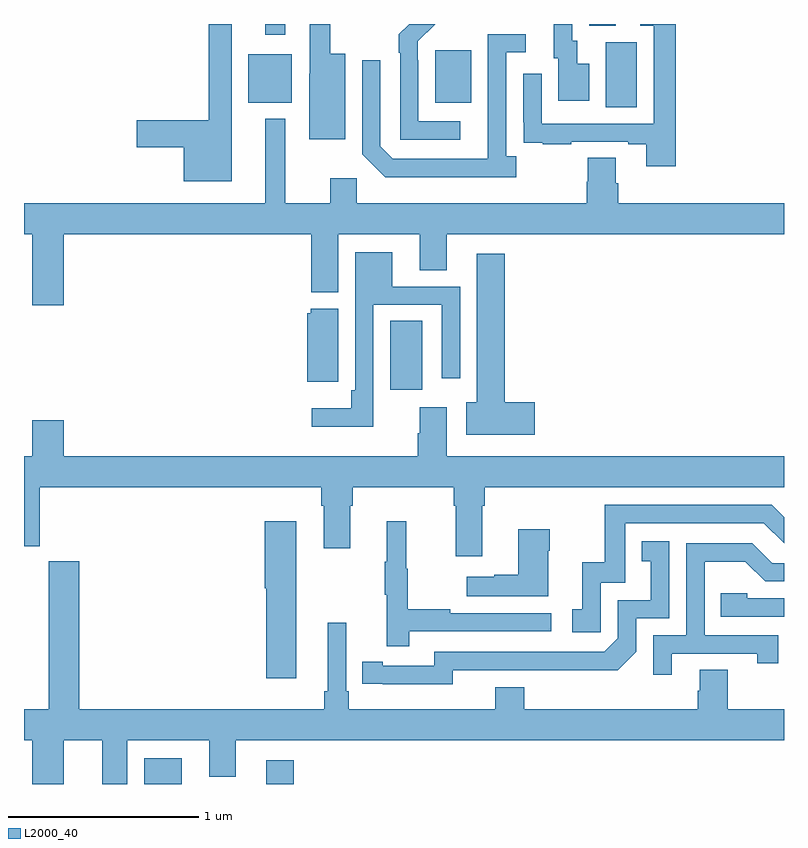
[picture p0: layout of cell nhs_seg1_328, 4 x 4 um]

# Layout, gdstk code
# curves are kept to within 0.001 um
import gdstk
lib = gdstk.Library(unit=1e-6, precision=1e-09)
def R(c, l, rs):  # rectangles x0, y0, x1, y1
    for r in rs: c.add(gdstk.rectangle(r[:2], r[2:], *l))
def P(c, l, *ps):  # polygons
    for p in ps: c.add(gdstk.Polygon(p, *l))
L2000_40 = (2000, 40)

nhs_seg1_328 = lib.new_cell('nhs_seg1_328')
R(nhs_seg1_328, L2000_40, [(129.633,522.199,129.829,522.334), (130.274,522.199,130.421,522.325), (130.928,524.274,131.095,524.636), (132.062,525.76,132.226,526.104), (130.181,525.785,130.408,526.039), (131.165,525.785,131.353,526.06), (130.271,526.143,130.375,526.199), (131.975,526.189,132.115,526.199)])
P(nhs_seg1_328, L2000_40, [(132.431,526.199),(132.243,526.199),(132.243,526.191),(132.315,526.191),(132.315,525.675),(131.724,525.675),(131.724,525.937),(131.628,525.937),(131.628,525.682),(131.629,525.682),(131.629,525.573),(131.731,525.573),(131.731,525.567),(131.879,525.567),(131.879,525.579),(132.179,525.579),(132.179,525.567),(132.275,525.567),(132.275,525.45),(132.431,525.45)],
  [(130.093,526.199),(129.972,526.199),(129.972,525.692),(129.594,525.692),(129.594,525.55),(129.842,525.55),(129.842,525.371),(130.093,525.371)],
  [(131.974,525.991),(131.911,525.991),(131.911,526.11),(131.886,526.11),(131.886,526.199),(131.789,526.199),(131.789,526.02),(131.813,526.02),(131.813,525.795),(131.974,525.795)],
  [(131.296,525.687),(131.076,525.687),(131.076,526.007),(131.073,526.007),(131.073,526.107),(131.165,526.199),(131.027,526.199),(130.973,526.144),(130.973,526.049),(130.98,526.049),(130.98,525.591),(131.296,525.591)],
  [(130.69,526.042),(130.612,526.042),(130.612,526.199),(130.503,526.199),(130.503,525.938),(130.502,525.938),(130.502,525.593),(130.69,525.593)],
  [(131.59,525.502),(131.538,525.502),(131.538,526.05),(131.641,526.05),(131.641,526.146),(131.442,526.146),(131.441,525.489),(130.941,525.489),(130.875,525.555),(130.875,526.009),(130.779,526.009),(130.779,525.513),(130.9,525.392),(131.59,525.392)],
  [(129.208,525.092),(130.511,525.092),(130.511,524.786),(130.654,524.786),(130.654,525.092),(131.084,525.092),(131.084,524.902),(131.224,524.902),(131.224,525.092),(133,525.092),(133,525.256),(132.128,525.256),(132.128,525.362),(132.115,525.362),(132.115,525.494),(131.968,525.494),(131.968,525.369),(131.963,525.369),(131.963,525.256),(130.752,525.256),(130.752,525.388),(130.613,525.388),(130.613,525.256),(130.375,525.256),(130.375,525.7),(130.271,525.7),(130.271,525.256),(129,525.256),(129,525.092),(129.044,525.092),(129.044,524.718),(129.208,524.718)],
  [(130.839,524.721),(131.199,524.721),(131.199,524.334),(131.295,524.334),(131.295,524.817),(130.939,524.817),(130.939,524.998),(130.743,524.998),(130.743,524.272),(130.723,524.272),(130.723,524.176),(130.515,524.176),(130.515,524.078),(130.839,524.078)],
  [(131.689,524.207),(131.531,524.207),(131.531,524.989),(131.384,524.989),(131.384,524.207),(131.328,524.207),(131.328,524.036),(131.689,524.036)],
  [(130.654,524.701),(130.509,524.701),(130.509,524.676),(130.49,524.676),(130.49,524.315),(130.654,524.315)],
  [(131.413,523.664),(131.426,523.664),(131.426,523.76),(133,523.76),(133,523.924),(131.224,523.924),(131.224,524.182),(131.084,524.182),(131.084,524.045),(131.072,524.045),(131.072,523.924),(129.208,523.924),(129.208,524.113),(129.044,524.113),(129.044,523.924),(129,523.924),(129,523.451),(129.082,523.451),(129.082,523.76),(130.565,523.76),(130.565,523.664),(130.577,523.664),(130.577,523.44),(130.717,523.44),(130.717,523.664),(130.73,523.664),(130.73,523.76),(131.261,523.76),(131.261,523.664),(131.273,523.664),(131.273,523.398),(131.413,523.398)],
  [(132.036,523.257),(132.165,523.257),(132.165,523.572),(132.894,523.572),(133,523.466),(133,523.604),(132.936,523.668),(132.057,523.668),(132.057,523.366),(131.939,523.366),(131.939,523.119),(131.886,523.119),(131.886,522.999),(132.036,522.999)],
  [(130.432,523.582),(130.268,523.582),(130.268,523.23),(130.274,523.23),(130.274,522.756),(130.432,522.756)],
  [(131.027,523.002),(131.776,523.002),(131.776,523.098),(131.243,523.098),(131.243,523.118),(131.02,523.118),(131.02,523.332),(131.012,523.332),(131.012,523.582),(130.91,523.582),(130.91,523.369),(130.899,523.369),(130.899,523.195),(130.91,523.195),(130.91,522.924),(131.027,522.924)],
  [(131.758,523.427),(131.766,523.427),(131.766,523.54),(131.6,523.54),(131.6,523.301),(131.474,523.301),(131.474,523.291),(131.331,523.291),(131.331,523.187),(131.758,523.187)],
  [(131.256,522.798),(132.124,522.797),(132.222,522.894),(132.222,523.071),(132.396,523.071),(132.396,523.477),(132.25,523.477),(132.25,523.371),(132.299,523.371),(132.299,523.167),(132.126,523.167),(132.126,522.966),(132.054,522.894),(131.16,522.894),(131.16,522.822),(130.888,522.822),(130.888,522.842),(130.78,522.842),(130.78,522.726),(131.256,522.725)],
  [(132.409,522.885),(132.86,522.885),(132.86,522.834),(132.971,522.834),(132.971,522.981),(132.582,522.981),(132.582,523.37),(132.796,523.37),(132.9,523.266),(133,523.266),(133,523.362),(132.937,523.362),(132.832,523.467),(132.486,523.467),(132.486,522.981),(132.312,522.981),(132.312,522.774),(132.409,522.774)],
  [(129.208,522.428),(129.413,522.428),(129.413,522.199),(129.544,522.199),(129.544,522.428),(129.974,522.428),(129.974,522.238),(130.114,522.238),(130.114,522.428),(133,522.428),(133,522.592),(132.705,522.592),(132.705,522.8),(132.557,522.8),(132.557,522.69),(132.545,522.69),(132.545,522.592),(131.633,522.592),(131.633,522.709),(131.48,522.709),(131.48,522.592),(130.709,522.592),(130.709,522.688),(130.695,522.688),(130.695,523.048),(130.598,523.048),(130.598,522.688),(130.579,522.688),(130.579,522.592),(129.29,522.592),(129.29,523.371),(129.13,523.371),(129.13,522.592),(129,522.592),(129,522.428),(129.044,522.428),(129.044,522.199),(129.208,522.199)],
  [(133,523.176),(132.807,523.176),(132.807,523.203),(132.667,523.203),(132.667,523.08),(133,523.08)])

lib.write_gds('nhs_seg1_328.gds')
